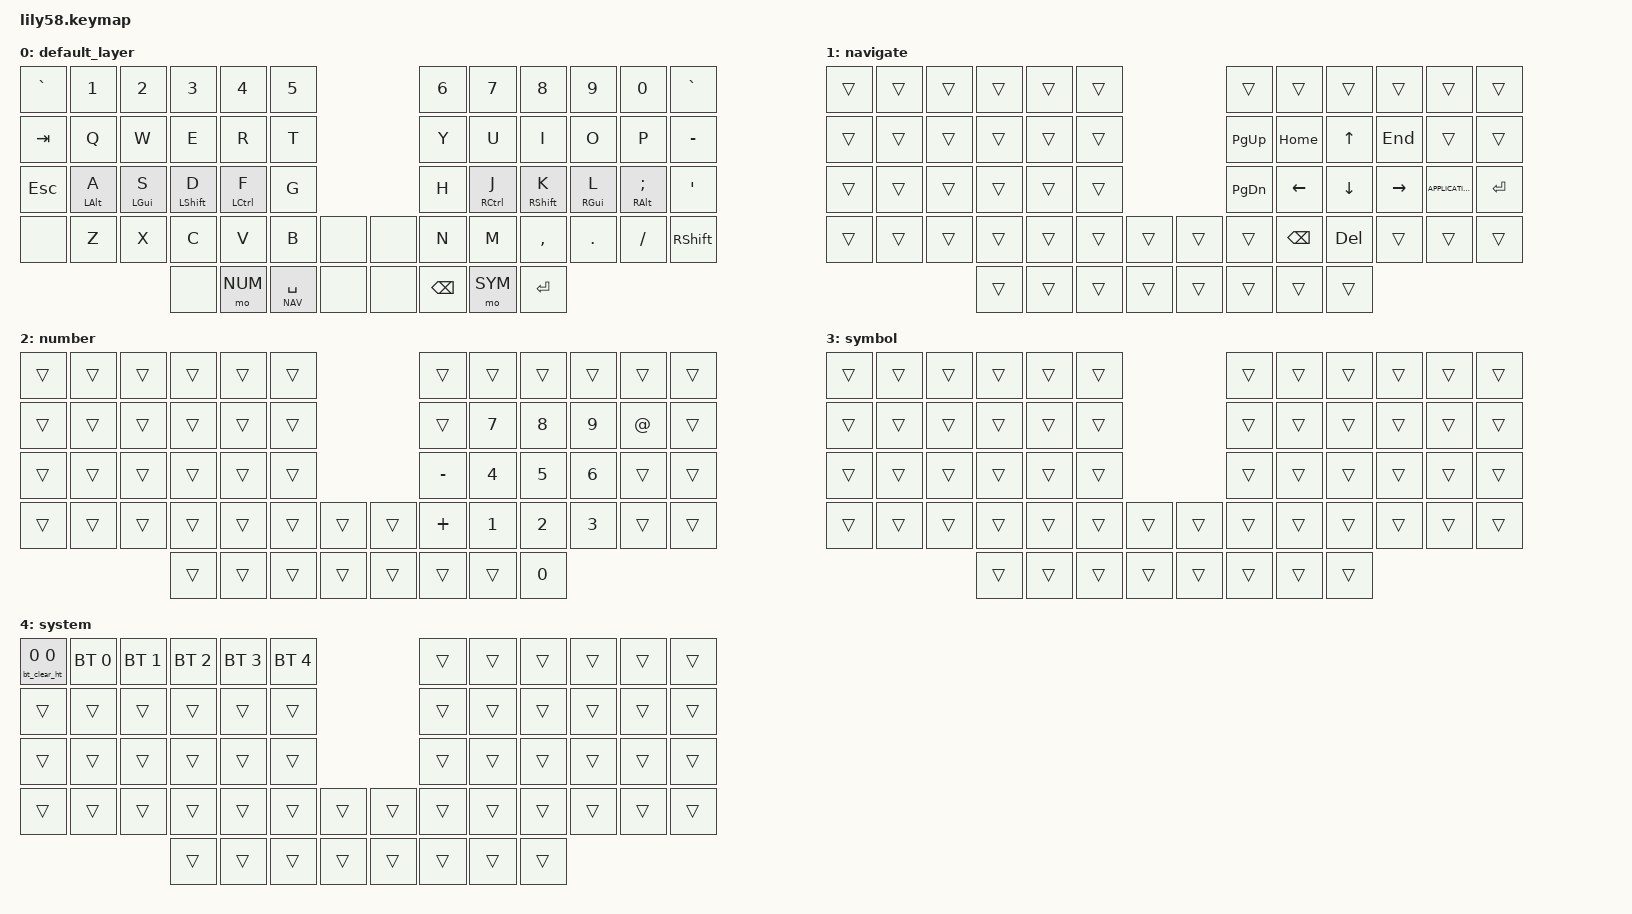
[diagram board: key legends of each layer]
/*
 * Copyright (c) 2020 The ZMK Contributors
 *
 * SPDX-License-Identifier: MIT
 */

#include <behaviors.dtsi>
#include <dt-bindings/zmk/keys.h>
#include <dt-bindings/zmk/bt.h>
#include <dt-bindings/zmk/ext_power.h>

#include "zmk-helpers/helper.h"
// Source desired key-position labels
#include "zmk-helpers/key-labels/lily58.h"
// Source unicode-chars for desired languages
#include "zmk-helpers/unicode-chars/russian.dtsi"

#define _BT_SEL_KEYS_                                                        \
      &bt BT_SEL 0 &bt BT_SEL 1 &bt BT_SEL 2 &bt BT_SEL 3 &bt BT_CLR

#define ___ &trans
#define XXX &none

#define DEF 0
#define NAV 1
#define NUM 2
#define SYM 3
#define SYS 4

/* Timeless homerow mods */

// https://github.com/urob/zmk-config/tree/main#timeless-homerow-mods
#define KEYS_L LT0 LT1 LT2 LT3 LT4 LT5 LM0 LM1 LM2 LM3 LM4 LM5 LB0 LB1 LB2 LB3 LB4 LB5 LF0 LF1 LF2 LF3 LF4 LF5  // left hand
#define KEYS_R RT0 RT1 RT2 RT3 RT4 RT5 RM0 RM1 RM2 RM3 RM4 RM5 RB0 RB1 RB2 RB3 RB4 RB5 RF0 RF1 RF2 RF3 RF4 RF5  // right hand
#define THUMBS LH3 LH2 LH1 LH0 RH0 RH1 RH2 RH3                            // thumbs

#define QUICK_TAP_MS 175

&lt {
  flavor = "balanced";
  tapping-term-ms = <200>;
  quick-tap-ms = <QUICK_TAP_MS>;
};


#define MAKE_HRM(NAME, HOLD, TAP, TRIGGER_POS)                                 \
  ZMK_HOLD_TAP(NAME, bindings = <HOLD>, <TAP>; flavor = "balanced";            \
               tapping-term-ms = <280>; quick-tap-ms = <QUICK_TAP_MS>;         \
               require-prior-idle-ms = <150>; hold-trigger-on-release;         \
               hold-trigger-key-positions = <TRIGGER_POS>;)

MAKE_HRM(hml, &kp, &kp, KEYS_R THUMBS) // Left-hand HRMs.
MAKE_HRM(hmr, &kp, &kp, KEYS_L THUMBS) // Right-hand HRMs.

/* Tri-layer: holding num + sym together activates sys */
ZMK_CONDITIONAL_LAYER(sys, NUM SYM, SYS)

/* Bluetooth: tap does nothing, hold 3s clears the current profile's bond */
ZMK_MACRO(bt_clear, bindings = <&bt BT_CLR>;)

ZMK_HOLD_TAP(bt_clear_ht, bindings = <&bt_clear>, <&none>;
             flavor = "tap-preferred"; tapping-term-ms = <3000>;)

/ {
    keymap {
        compatible = "zmk,keymap";

        default_layer {
// ------------------------------------------------------------------------------------------------------------
// |  `  |  1  |  2  |  3   |  4   |  5   |                   |  6   |  7    |  8    |  9   |   0   |       |
// | TAB |  Q  |  W  |  E   |  R   |  T   |                   |  Y   |  U    |  I    |  O   |   P   |   ]   |
// | ESC | A/A | S/G | D/S  | F/C  |  G   |                   |  H   | J/C   | K/S   | L/G  |  ;/A  |   '   |
// | \   |  Z  |  X  |  C   |  V   |  B   |   xxx  |  |  xxx  |  N   |  M    |  ,    |  .   |   /   |   ]   |
//                   | xxx  | num  |nav/spc| xxx  |  |  xxx  | BSPC | sym  | ENTER |
            // display-name = "def";
            bindings = <
&kp GRAVE &kp N1        &kp N2      &kp N3       &kp N4       &kp N5                             &kp N6     &kp N7       &kp N8       &kp N9      &kp N0         &kp GRAVE
&kp TAB   &kp Q         &kp W       &kp E        &kp R        &kp T                              &kp Y      &kp U        &kp I        &kp O       &kp P          &kp MINUS
&kp ESC   &hml LALT A   &hml LGUI S &hml LSHFT D &hml LCTRL F &kp G                              &kp H      &hmr RCTRL J &hmr RSHFT K &hmr RGUI L &hmr RALT SEMI &kp SQT
&none     &kp Z         &kp X       &kp C        &kp V        &kp B            XXX        XXX    &kp N      &kp M        &kp COMMA    &kp DOT     &kp FSLH       &kp RSHFT
                                    XXX          &mo NUM      &lt NAV SPACE    XXX        XXX    &kp BSPC   &mo SYM       &kp RET
            >;
        };

        nav_layer {
// ------------------------------------------------------------------------------------------------------------
// |     |     |     |      |      |      |                   |      |       |       |      |       |       |
// |     |     |     |      |      |      |                   | PGUP | HOME  |  UP   |  END |       |       |
// |     |     |     |      |      |      |                   | PGDN | LEFT  | DOWN  | RIGHT|  MENU | ENTER |
// |     |     |     |      |      |      |   xxx  |  |  xxx  |      | BSPC  |  DEL  |      |       |       |
//                   |      |      |      |   xxx  |  |  xxx  |      |       |       |
            display-name = "navigate";
            bindings = <
&trans &trans &trans &trans &trans &trans                              &trans    &trans     &trans    &trans     &trans &trans
&trans &trans &trans &trans &trans &trans                              &kp PG_UP &kp HOME   &kp UP    &kp END    &trans &trans
&trans &trans &trans &trans &trans &trans                              &kp PG_DN &kp LEFT   &kp DOWN  &kp RIGHT  &kp K_APPLICATION &kp RET
&trans &trans &trans &trans &trans &trans &trans &trans                &trans    &kp BACKSPACE &kp DELETE &trans  &trans &trans
                     &trans &trans &trans &trans &trans                &trans    &trans     &trans
            >;
        };

        num_layer {
// ------------------------------------------------------------------------------------------------------------
// |     |     |     |      |      |      |                   |      |       |       |      |       |       |
// |     |     |     |      |      |      |                   |      |   7   |   8   |   9  |   @   |       |
// |     |     |     |      |      |      |                   |  -   |   4   |   5   |   6  |       |       |
// |     |     |     |      |      |      |   xxx  |  |  xxx  |  +   |   1   |   2   |   3  |       |       |
//                   |      |      |      |   xxx  |  |  xxx  |      |       |   0   |
            display-name = "number";
            bindings = <
&trans &trans &trans &trans &trans &trans                   &trans    &trans   &trans  &trans   &trans &trans
&trans &trans &trans &trans &trans &trans                   &trans    &kp N7   &kp N8  &kp N9   &kp AT &trans
&trans &trans &trans &trans &trans &trans                   &kp MINUS &kp N4   &kp N5  &kp N6   &trans &trans
&trans &trans &trans &trans &trans &trans &trans &trans     &kp PLUS  &kp N1   &kp N2  &kp N3   &trans &trans
                     &trans &trans &trans &trans &trans     &trans    &trans   &kp N0
            >;
        };

        sym_layer {
// ------------------------------------------------------------------------------------------------------------
// |     |     |     |      |      |      |                   |      |       |       |      |       |       |
// |     |     |     |      |      |      |                   |      |       |       |      |       |       |
// |     |     |     |      |      |      |                   |      |       |       |      |       |       |
// |     |     |     |      |      |      |   xxx  |  |  xxx  |      |       |       |      |       |       |
//                   |      |      |      |   xxx  |  |  xxx  |      |       |       |
            display-name = "symbol";
            bindings = <
&trans &trans &trans &trans &trans &trans                   &trans &trans &trans &trans &trans &trans
&trans &trans &trans &trans &trans &trans                   &trans &trans &trans &trans &trans &trans
&trans &trans &trans &trans &trans &trans                   &trans &trans &trans &trans &trans &trans
&trans &trans &trans &trans &trans &trans &trans &trans     &trans &trans &trans &trans &trans &trans
                     &trans &trans &trans &trans &trans     &trans &trans &trans
            >;
        };

        sys_layer {
// ------------------------------------------------------------------------------------------------------------
// | reached by holding num + sym together
// |CLR/3s|  1  |  2  |  3   |  4   |  5   |                   |      |       |       |      |       |       |
// |     |     |     |      |      |      |                   |      |       |       |      |       |       |
// |     |     |     |      |      |      |                   |      |       |       |      |       |       |
// |     |     |     |      |      |      |   xxx  |  |  xxx  |      |       |       |      |       |       |
//                   |      |      |      |   xxx  |  |  xxx  |      |       |       |
            display-name = "system";
            bindings = <
&bt_clear_ht 0 0 &bt BT_SEL 0 &bt BT_SEL 1 &bt BT_SEL 2 &bt BT_SEL 3 &bt BT_SEL 4     &trans &trans &trans &trans &trans &trans
&trans &trans &trans &trans &trans &trans                   &trans &trans &trans &trans &trans &trans
&trans &trans &trans &trans &trans &trans                   &trans &trans &trans &trans &trans &trans
&trans &trans &trans &trans &trans &trans &trans &trans     &trans &trans &trans &trans &trans &trans
                     &trans &trans &trans &trans &trans    &trans &trans &trans
            >;
        };

        extra_2 {
            status = "reserved";
        };

        extra_3 {
            status = "reserved";
        };
    };
};
